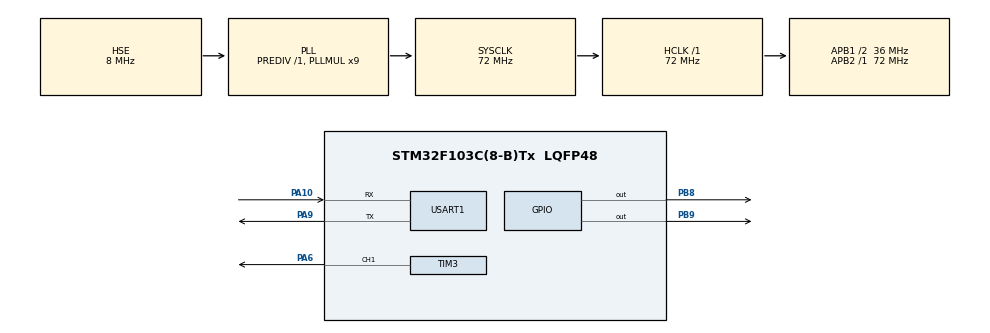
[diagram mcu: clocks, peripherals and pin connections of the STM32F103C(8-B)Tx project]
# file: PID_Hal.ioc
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Dma.Request0=TIM3_CH1/TRIG
Dma.TIM3_CH1/TRIG.0.Direction=DMA_MEMORY_TO_PERIPH
Dma.TIM3_CH1/TRIG.0.Instance=DMA1_Channel6
Dma.TIM3_CH1/TRIG.0.MemDataAlignment=DMA_MDATAALIGN_HALFWORD
Dma.TIM3_CH1/TRIG.0.MemInc=DMA_MINC_ENABLE
Dma.TIM3_CH1/TRIG.0.Mode=DMA_CIRCULAR
Dma.TIM3_CH1/TRIG.0.PeriphDataAlignment=DMA_PDATAALIGN_HALFWORD
Dma.TIM3_CH1/TRIG.0.PeriphInc=DMA_PINC_DISABLE
Dma.TIM3_CH1/TRIG.0.Priority=DMA_PRIORITY_LOW
Mcu.Family=STM32F1
Mcu.Name=STM32F103C(8-B)Tx
Mcu.Package=LQFP48
NVIC.DMA1_Channel6_IRQn=true\:0\:0\:false\:false\:true\:false\:true\:true
NVIC.PriorityGroup=NVIC_PRIORITYGROUP_4
NVIC.TIM3_IRQn=true\:0\:0\:false\:false\:true\:true\:true\:true
NVIC.USART1_IRQn=true\:0\:0\:false\:false\:true\:true\:true\:true
PA10.Mode=Asynchronous
PA10.Signal=USART1_RX
PA13.Mode=Serial_Wire
PA13.Signal=SYS_JTMS-SWDIO
PA14.Mode=Serial_Wire
PA14.Signal=SYS_JTCK-SWCLK
PA6.Signal=S_TIM3_CH1
PA9.Mode=Asynchronous
PA9.Signal=USART1_TX
PB8.GPIO_ModeDefaultOutputPP=GPIO_MODE_OUTPUT_OD
PB8.GPIO_PuPd=GPIO_NOPULL
PB8.Signal=GPIO_Output
PB9.GPIO_ModeDefaultOutputPP=GPIO_MODE_OUTPUT_OD
PB9.GPIO_PuPd=GPIO_NOPULL
PB9.Signal=GPIO_Output
PC14-OSC32_IN.Mode=LSE-External-Oscillator
PC14-OSC32_IN.Signal=RCC_OSC32_IN
PC15-OSC32_OUT.Mode=LSE-External-Oscillator
PC15-OSC32_OUT.Signal=RCC_OSC32_OUT
PD0-OSC_IN.Mode=HSE-External-Oscillator
PD0-OSC_IN.Signal=RCC_OSC_IN
PD1-OSC_OUT.Mode=HSE-External-Oscillator
PD1-OSC_OUT.Signal=RCC_OSC_OUT
ProjectManager.HeapSize=0x200
ProjectManager.StackSize=0x400
ProjectManager.TargetToolchain=MDK-ARM V5
RCC.AHBFreq_Value=72000000
RCC.APB1CLKDivider=RCC_HCLK_DIV2
RCC.APB1Freq_Value=36000000
RCC.APB1TimFreq_Value=72000000
RCC.APB2Freq_Value=72000000
RCC.APB2TimFreq_Value=72000000
RCC.HCLKFreq_Value=72000000
RCC.PLLMUL=RCC_PLL_MUL9
RCC.PLLSourceVirtual=RCC_PLLSOURCE_HSE
RCC.SYSCLKFreq_VALUE=72000000
RCC.SYSCLKSource=RCC_SYSCLKSOURCE_PLLCLK
RCC.USBFreq_Value=72000000
SH.S_TIM3_CH1.0=TIM3_CH1,PWM Generation1 CH1
TIM3.Channel-PWM\ Generation1\ CH1=TIM_CHANNEL_1
TIM3.Period=90-1
USART1.VirtualMode=VM_ASYNC
board=custom

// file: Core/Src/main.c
/* USER CODE BEGIN Header */
/**
  ******************************************************************************
  * @file           : main.c
  * @brief          : Main program body
  ******************************************************************************
  * @attention
  *
  * Copyright (c) 2025 STMicroelectronics.
  * All rights reserved.
  *
  * This software is licensed under terms that can be found in the LICENSE file
  * in the root directory of this software component.
  * If no LICENSE file comes with this software, it is provided AS-IS.
  *
  ******************************************************************************
  */
/* USER CODE END Header */
#include "main.h"
#include "dma.h"
#include "tim.h"
#include "usart.h"
#include "gpio.h"

/* USER CODE BEGIN Includes */
#include "stdio.h"
#include "sht4x.h"
#include "sgp30.h"
#include "bmp280.h"
#include "ws2812.h"
/* USER CODE END Includes */

/* USER CODE BEGIN PV */
uint8_t ReceiveData;

uint8_t readData[6] = {0};
double SHT40_Temperature = 0; //温度
double Humidity = 0;    //湿度

uint32_t dat;
uint16_t co2Data,TVOCData;

double BMP_Pressure,BMP_Temperature;

/* USER CODE END PV */

void SystemClock_Config(void);

/* USER CODE BEGIN 0 */

/*串口重定向*/
int fputc(int ch, FILE *f)
{
	HAL_UART_Transmit(&huart1, (uint8_t *)&ch, 1, 100);
	return (ch);
}
/* USER CODE END 0 */

int main(void)
{

  /* MCU Configuration--------------------------------------------------------*/

  /* Reset of all peripherals, Initializes the Flash interface and the Systick. */
  HAL_Init();

  /* Configure the system clock */
  SystemClock_Config();

  /* Initialize all configured peripherals */
  MX_GPIO_Init();
  MX_DMA_Init();
  MX_USART1_UART_Init();
  MX_TIM3_Init();
  /* USER CODE BEGIN 2 */
  HAL_UART_Receive_IT(&huart1,&ReceiveData,1);
  Bmp_Init();
  HAL_Delay(50);
  printf("\r\nBMP280 ID:0x%02x",BMP280_ReadID());
  HAL_Delay(2000);

  /* USER CODE END 2 */

  /* Infinite loop */
  /* USER CODE BEGIN WHILE */
  while (1)
  {
    /*SHT40采集温湿度,验证成功*/
    SHT40_Start_Measurement();
		SHT40_Read_Measurement((uint8_t*)readData,6);
		SHT40_Temperature = (1.0 * 175 * (readData[0] * 256 + readData[1])) / 65535.0 - 45;
		Humidity = (1.0 * 125 * (readData[3] * 256 + readData[4])) / 65535.0 - 6.0;
    printf("SHT40_Temperature = %.2f ℃,Humidity = %.2f %%RH\n", SHT40_Temperature, Humidity);
    HAL_Delay(500);

    /*SGP30，未验证*/
    /*
    SGP30_ad_write(0x26,0x19);
		dat = SGP30_ad_read();
		co2Data = (dat & 0xffff0000) >> 16;
		TVOCData = dat & 0x0000ffff;
		printf("TVOC:%d Ppb,co2:%d Ppm\r\n",TVOCData,co2Data);
    printf("123\n");
		HAL_Delay(500);
    */

    /*BMP280海拔检测,验证成功*/
		BMP_Temperature = BMP280_Get_Temperature();
		BMP_Pressure = BMP280_Get_Pressure();
		printf("BMP280_Temperature %.2f ℃,Pressure %.2f KPa",BMP_Temperature,BMP_Pressure/1000);
		HAL_Delay(500);

    WS2812_Set(10,128,0,0);

    /* USER CODE END WHILE */

  }
}

void SystemClock_Config(void)
{
  RCC_OscInitTypeDef RCC_OscInitStruct = {0};
  RCC_ClkInitTypeDef RCC_ClkInitStruct = {0};

  /** Initializes the RCC Oscillators according to the specified parameters
  * in the RCC_OscInitTypeDef structure.
  */
  RCC_OscInitStruct.OscillatorType = RCC_OSCILLATORTYPE_HSE;
  RCC_OscInitStruct.HSEState = RCC_HSE_ON;
  RCC_OscInitStruct.HSEPredivValue = RCC_HSE_PREDIV_DIV1;
  RCC_OscInitStruct.HSIState = RCC_HSI_ON;
  RCC_OscInitStruct.PLL.PLLState = RCC_PLL_ON;
  RCC_OscInitStruct.PLL.PLLSource = RCC_PLLSOURCE_HSE;
  RCC_OscInitStruct.PLL.PLLMUL = RCC_PLL_MUL9;
  if (HAL_RCC_OscConfig(&RCC_OscInitStruct) != HAL_OK)
  {
    Error_Handler();
  }

  /** Initializes the CPU, AHB and APB buses clocks
  */
  RCC_ClkInitStruct.ClockType = RCC_CLOCKTYPE_HCLK|RCC_CLOCKTYPE_SYSCLK
                              |RCC_CLOCKTYPE_PCLK1|RCC_CLOCKTYPE_PCLK2;
  RCC_ClkInitStruct.SYSCLKSource = RCC_SYSCLKSOURCE_PLLCLK;
  RCC_ClkInitStruct.AHBCLKDivider = RCC_SYSCLK_DIV1;
  RCC_ClkInitStruct.APB1CLKDivider = RCC_HCLK_DIV2;
  RCC_ClkInitStruct.APB2CLKDivider = RCC_HCLK_DIV1;

  if (HAL_RCC_ClockConfig(&RCC_ClkInitStruct, FLASH_LATENCY_2) != HAL_OK)
  {
    Error_Handler();
  }
}

/* USER CODE BEGIN 4 */

//串口中断回调函数
void HAL_UART_RxCpltCallback(UART_HandleTypeDef *huart)
{

	if(huart == &huart1)
	{
		if(ReceiveData == '+')
		{
			printf("main.t10.txt=\"+\"\xff\xff\xff");
		}
		else if(ReceiveData == '-')
		{
			printf("main.t10.txt=\"-\"\xff\xff\xff");
		}
		else if(ReceiveData == '1')
		{
			printf("main.t10.txt=\"1\"\xff\xff\xff");
		}
		else if(ReceiveData == '2')
		{
			printf("main.t10.txt=\"2\"\xff\xff\xff");
		}

		HAL_UART_Receive_IT(&huart1,&ReceiveData,1);
	}
}

/* USER CODE END 4 */

void Error_Handler(void)
{
  __disable_irq();
  while (1)
  {
  }
}
